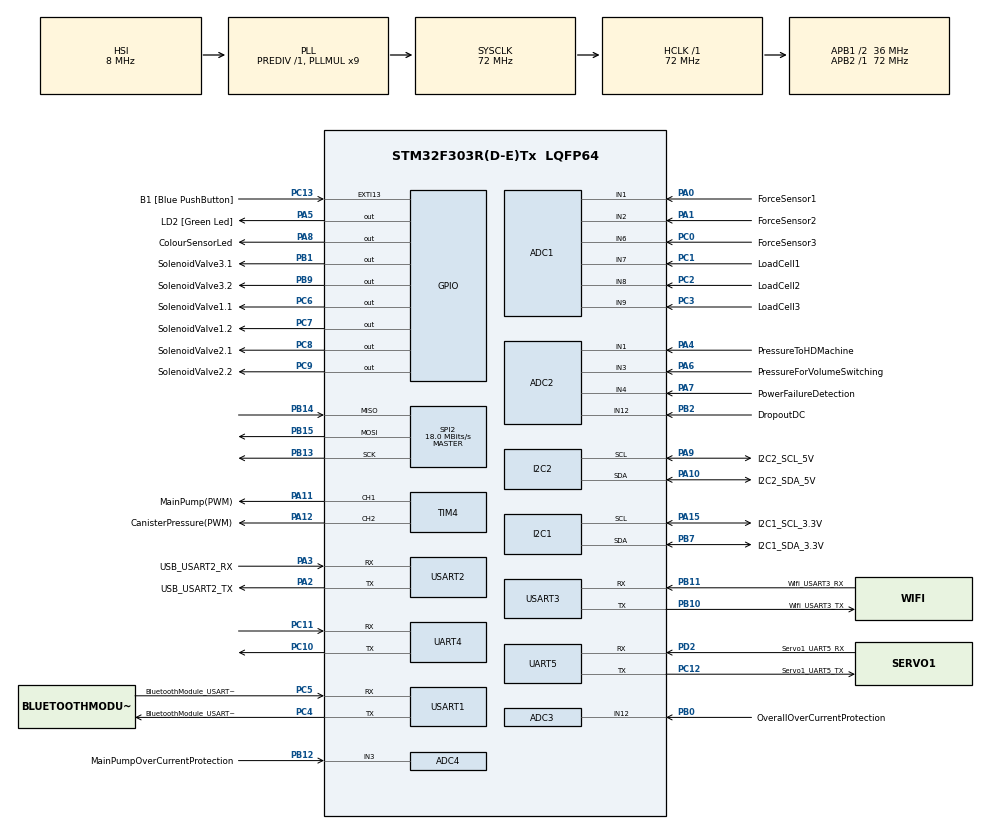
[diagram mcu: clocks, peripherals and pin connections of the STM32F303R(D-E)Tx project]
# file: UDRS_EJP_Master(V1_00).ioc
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ADC1.Channel-0\#ChannelRegularConversion=ADC_CHANNEL_1
ADC1.NbrOfConversionFlag=1
ADC1.Offset-0\#ChannelRegularConversion=0
ADC1.OffsetNumber-0\#ChannelRegularConversion=ADC_OFFSET_NONE
ADC1.Rank-0\#ChannelRegularConversion=1
ADC1.SamplingTime-0\#ChannelRegularConversion=ADC_SAMPLETIME_1CYCLE_5
ADC1.master=1
ADC2.Channel-0\#ChannelRegularConversion=ADC_CHANNEL_1
ADC2.NbrOfConversionFlag=1
ADC2.Offset-0\#ChannelRegularConversion=0
ADC2.OffsetNumber-0\#ChannelRegularConversion=ADC_OFFSET_NONE
ADC2.Rank-0\#ChannelRegularConversion=1
ADC2.SamplingTime-0\#ChannelRegularConversion=ADC_SAMPLETIME_1CYCLE_5
ADC3.Channel-0\#ChannelRegularConversion=ADC_CHANNEL_12
ADC3.NbrOfConversionFlag=1
ADC3.Offset-0\#ChannelRegularConversion=0
ADC3.OffsetNumber-0\#ChannelRegularConversion=ADC_OFFSET_NONE
ADC3.Rank-0\#ChannelRegularConversion=1
ADC3.SamplingTime-0\#ChannelRegularConversion=ADC_SAMPLETIME_1CYCLE_5
ADC3.master=1
ADC4.Channel-0\#ChannelRegularConversion=ADC_CHANNEL_3
ADC4.NbrOfConversionFlag=1
ADC4.Offset-0\#ChannelRegularConversion=0
ADC4.OffsetNumber-0\#ChannelRegularConversion=ADC_OFFSET_NONE
ADC4.Rank-0\#ChannelRegularConversion=1
ADC4.SamplingTime-0\#ChannelRegularConversion=ADC_SAMPLETIME_1CYCLE_5
Mcu.Family=STM32F3
Mcu.Name=STM32F303R(D-E)Tx
Mcu.Package=LQFP64
NVIC.PriorityGroup=NVIC_PRIORITYGROUP_0
PA0.GPIO_Label=ForceSensor1
PA0.Mode=IN1-Single-Ended
PA0.Signal=ADC1_IN1
PA1.GPIO_Label=ForceSensor2
PA1.Mode=IN2-Single-Ended
PA1.Signal=ADC1_IN2
PA10.GPIO_Label=I2C2_SDA_5V
PA10.Mode=I2C
PA10.Signal=I2C2_SDA
PA11.GPIO_Label=MainPump(PWM)
PA11.Signal=S_TIM4_CH1
PA12.GPIO_Label=CanisterPressure(PWM)
PA12.Signal=S_TIM4_CH2
PA13.GPIO_Label=TMS
PA13.Mode=Serial_Wire
PA13.Signal=SYS_JTMS-SWDIO
PA14.GPIO_Label=TCK
PA14.Mode=Serial_Wire
PA14.Signal=SYS_JTCK-SWCLK
PA15.GPIO_Label=I2C1_SCL_3.3V
PA15.Mode=I2C
PA15.Signal=I2C1_SCL
PA2.GPIO_Label=USB_USART2_TX
PA2.GPIO_Mode=GPIO_MODE_AF_PP
PA2.GPIO_PuPd=GPIO_NOPULL
PA2.GPIO_Speed=GPIO_SPEED_FREQ_LOW
PA2.Mode=Asynchronous
PA2.Signal=USART2_TX
PA3.GPIO_Label=USB_USART2_RX
PA3.GPIO_Mode=GPIO_MODE_AF_PP
PA3.GPIO_PuPd=GPIO_NOPULL
PA3.GPIO_Speed=GPIO_SPEED_FREQ_LOW
PA3.Mode=Asynchronous
PA3.Signal=USART2_RX
PA4.GPIO_Label=PressureToHDMachine
PA4.Mode=IN1-Single-Ended
PA4.Signal=ADC2_IN1
PA5.GPIO_Label=LD2 [Green Led]
PA5.GPIO_Mode=GPIO_MODE_OUTPUT_PP
PA5.GPIO_PuPd=GPIO_NOPULL
PA5.GPIO_Speed=GPIO_SPEED_FREQ_LOW
PA5.Signal=GPIO_Output
PA6.GPIO_Label=PressureForVolumeSwitching
PA6.Mode=IN3-Single-Ended
PA6.Signal=ADC2_IN3
PA7.GPIO_Label=PowerFailureDetection
PA7.Mode=IN4-Single-Ended
PA7.Signal=ADC2_IN4
PA8.GPIO_Label=ColourSensorLed
PA8.Signal=GPIO_Output
PA9.GPIO_Label=I2C2_SCL_5V
PA9.Mode=I2C
PA9.Signal=I2C2_SCL
PB0.GPIO_Label=OverallOverCurrentProtection
PB0.Mode=IN12-Single-Ended
PB0.Signal=ADC3_IN12
PB1.GPIO_Label=SolenoidValve3.1
PB1.Signal=GPIO_Output
PB10.GPIO_Label=Wifi_USART3_TX
PB10.Mode=Asynchronous
PB10.Signal=USART3_TX
PB11.GPIO_Label=Wifi_USART3_RX
PB11.Mode=Asynchronous
PB11.Signal=USART3_RX
PB12.GPIO_Label=MainPumpOverCurrentProtection
PB12.Mode=IN3-Single-Ended
PB12.Signal=ADC4_IN3
PB13.Mode=Full_Duplex_Master
PB13.Signal=SPI2_SCK
PB14.Mode=Full_Duplex_Master
PB14.Signal=SPI2_MISO
PB15.Mode=Full_Duplex_Master
PB15.Signal=SPI2_MOSI
PB2.GPIO_Label=DropoutDC
PB2.Mode=IN12-Single-Ended
PB2.Signal=ADC2_IN12
PB3.GPIO_Label=SWO
PB3.Signal=SYS_JTDO-TRACESWO
PB7.GPIO_Label=I2C1_SDA_3.3V
PB7.Mode=I2C
PB7.Signal=I2C1_SDA
PB9.GPIO_Label=SolenoidValve3.2
PB9.Signal=GPIO_Output
PC0.GPIO_Label=ForceSensor3
PC0.Signal=ADCx_IN6
PC1.GPIO_Label=LoadCell1
PC1.Signal=ADCx_IN7
PC10.Mode=Asynchronous
PC10.Signal=UART4_TX
PC11.Mode=Asynchronous
PC11.Signal=UART4_RX
PC12.GPIO_Label=Servo1_UART5_TX
PC12.Mode=Asynchronous
PC12.Signal=UART5_TX
PC13.GPIO_Label=B1 [Blue PushButton]
PC13.GPIO_ModeDefaultEXTI=GPIO_MODE_IT_FALLING
PC13.Signal=GPXTI13
PC14-OSC32_IN.Mode=LSE-External-Oscillator
PC14-OSC32_IN.Signal=RCC_OSC32_IN
PC15-OSC32_OUT.Mode=LSE-External-Oscillator
PC15-OSC32_OUT.Signal=RCC_OSC32_OUT
PC2.GPIO_Label=LoadCell2
PC2.Signal=ADCx_IN8
PC3.GPIO_Label=LoadCell3
PC3.Signal=ADCx_IN9
PC4.GPIO_Label=BluetoothModule_USART1_TX
PC4.Mode=Asynchronous
PC4.Signal=USART1_TX
PC5.GPIO_Label=BluetoothModule_USART1_RX
PC5.Mode=Asynchronous
PC5.Signal=USART1_RX
PC6.GPIO_Label=SolenoidValve1.1
PC6.Signal=GPIO_Output
PC7.GPIO_Label=SolenoidValve1.2
PC7.Signal=GPIO_Output
PC8.GPIO_Label=SolenoidValve2.1
PC8.Signal=GPIO_Output
PC9.GPIO_Label=SolenoidValve2.2
PC9.Signal=GPIO_Output
PD2.GPIO_Label=Servo1_UART5_RX
PD2.Mode=Asynchronous
PD2.Signal=UART5_RX
PF0-OSC_IN.Mode=HSE-External-Clock-Source
PF0-OSC_IN.Signal=RCC_OSC_IN
PF1-OSC_OUT.Signal=RCC_OSC_OUT
ProjectManager.HeapSize=0x200
ProjectManager.StackSize=0x400
ProjectManager.TargetToolchain=MDK-ARM V5
RCC.AHBFreq_Value=72000000
RCC.APB1CLKDivider=RCC_HCLK_DIV2
RCC.APB1Freq_Value=36000000
RCC.APB1TimFreq_Value=72000000
RCC.APB2Freq_Value=72000000
RCC.APB2TimFreq_Value=72000000
RCC.CortexFreq_Value=72000000
RCC.HCLKFreq_Value=72000000
RCC.HSE_VALUE=8000000
RCC.HSI_VALUE=8000000
RCC.PLLM=8
RCC.PLLMUL=RCC_PLL_MUL9
RCC.PLLN=336
RCC.PLLP=RCC_PLLP_DIV4
RCC.PLLQ=7
RCC.RCC_PLLsource_Clock_Source_FROM_HSE=RCC_HSE_PREDIV_DIV2
RCC.RTCClockSelection=RCC_RTCCLKSOURCE_LSE
RCC.SYSCLKFreq_VALUE=72000000
RCC.SYSCLKSourceVirtual=RCC_SYSCLKSOURCE_PLLCLK
RCC.USBFreq_Value=72000000
RTC.Hours=12
RTC.Year=18
SH.ADCx_IN6.0=ADC1_IN6,IN6-Single-Ended
SH.ADCx_IN7.0=ADC1_IN7,IN7-Single-Ended
SH.ADCx_IN8.0=ADC1_IN8,IN8-Single-Ended
SH.ADCx_IN9.0=ADC1_IN9,IN9-Single-Ended
SH.S_TIM4_CH1.0=TIM4_CH1,PWM Generation1 CH1
SH.S_TIM4_CH2.0=TIM4_CH2,PWM Generation2 CH2
SPI2.CalculateBaudRate=18.0 MBits/s
SPI2.Direction=SPI_DIRECTION_2LINES
SPI2.Mode=SPI_MODE_MASTER
SPI2.VirtualType=VM_MASTER
TIM4.Channel-PWM\ Generation1\ CH1=TIM_CHANNEL_1
TIM4.Channel-PWM\ Generation2\ CH2=TIM_CHANNEL_2
USART1.VirtualMode-Asynchronous=VM_ASYNC
USART2.VirtualMode-Asynchronous=VM_ASYNC
USART3.VirtualMode-Asynchronous=VM_ASYNC
VP_RTC_VS_RTC_Activate.Mode=RTC_Enabled
VP_RTC_VS_RTC_Calendar.Mode=RTC_Calendar
board=NUCLEO-F303RE

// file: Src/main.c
/**
  ******************************************************************************
  * @file           : main.c
  * @brief          : Main program body of UDRS-EJP-Software
	*									: Control the laboratory testing and design exploration
	*									: Suppport prototyping and testing codes before merging into
	*									  the central repository of the main Universal Dialysate
	*									  Regeneration System software.
	* @generated with	: STM32CubeMX for Nucleo-64(F303RE)
	* @date created		: 7 Jan 2019
	* @modified by		: Er Jui Pin
	* @last update		: Git
  ******************************************************************************
  ** This notice applies to any and all portions of this file
  * that are not between comment pairs USER CODE BEGIN and
  * USER CODE END. Other portions of this file, whether
  * inserted by the user or by software development tools
  * are owned by their respective copyright owners.
  *
  * COPYRIGHT(c) 2018 STMicroelectronics
  *
  * Redistribution and use in source and binary forms, with or without modification,
  * are permitted provided that the following conditions are met:
  *   1. Redistributions of source code must retain the above copyright notice,
  *      this list of conditions and the following disclaimer.
  *   2. Redistributions in binary form must reproduce the above copyright notice,
  *      this list of conditions and the following disclaimer in the documentation
  *      and/or other materials provided with the distribution.
  *   3. Neither the name of STMicroelectronics nor the names of its contributors
  *      may be used to endorse or promote products derived from this software
  *      without specific prior written permission.
  *
  * THIS SOFTWARE IS PROVIDED BY THE COPYRIGHT HOLDERS AND CONTRIBUTORS "AS IS"
  * AND ANY EXPRESS OR IMPLIED WARRANTIES, INCLUDING, BUT NOT LIMITED TO, THE
  * IMPLIED WARRANTIES OF MERCHANTABILITY AND FITNESS FOR A PARTICULAR PURPOSE ARE
  * DISCLAIMED. IN NO EVENT SHALL THE COPYRIGHT HOLDER OR CONTRIBUTORS BE LIABLE
  * FOR ANY DIRECT, INDIRECT, INCIDENTAL, SPECIAL, EXEMPLARY, OR CONSEQUENTIAL
  * DAMAGES (INCLUDING, BUT NOT LIMITED TO, PROCUREMENT OF SUBSTITUTE GOODS OR
  * SERVICES; LOSS OF USE, DATA, OR PROFITS; OR BUSINESS INTERRUPTION) HOWEVER
  * CAUSED AND ON ANY THEORY OF LIABILITY, WHETHER IN CONTRACT, STRICT LIABILITY,
  * OR TORT (INCLUDING NEGLIGENCE OR OTHERWISE) ARISING IN ANY WAY OUT OF THE USE
  * OF THIS SOFTWARE, EVEN IF ADVISED OF THE POSSIBILITY OF SUCH DAMAGE.
  *
  ******************************************************************************
  */

#include "main.h"
#include "stm32f3xx_hal.h"

ADC_HandleTypeDef hadc1;
ADC_HandleTypeDef hadc2;
ADC_HandleTypeDef hadc3;
ADC_HandleTypeDef hadc4;

I2C_HandleTypeDef hi2c1;
I2C_HandleTypeDef hi2c2;

RTC_HandleTypeDef hrtc;

SPI_HandleTypeDef hspi2;

TIM_HandleTypeDef htim4;

UART_HandleTypeDef huart4;
UART_HandleTypeDef huart5;
UART_HandleTypeDef huart1;
UART_HandleTypeDef huart2;
UART_HandleTypeDef huart3;

/* USER CODE BEGIN PV */
/* Private variables ---------------------------------------------------------*/

/* Struct for f/w design and as template to other applications */
UDRS_ProgrammerTypedef	FWD1, TEMPLATE;							// timing flags
char bufferTX[SIZE_BUFFER_TXRX];										// TX buffer for display

/* Struct to support other applications */
UDRS_ProgrammerTypedef	JP, KH, ES;									// timing flags

uint8_t		g_MenuIndex;
uint32_t	uwTick_current, uwTick_previous500mS, uwTick_previous1S;

/* Exported variables (extern) */
uint8_t	g_UDRS_timeout1S, g_UDRS_timeout500mS;
uint8_t	g_JP_timeout1S, 	g_JP_timeout500mS;
uint8_t	g_KH_timeout1S, 	g_KH_timeout500mS;
uint8_t	g_ES_timeout1S, 	g_ES_timeout500mS;
//////extern uint16_t adcValueCenter, adcValueSameAxis, adcValue45degree;
//////extern uint16_t adcValueCenterArray[NUM_OF_ARRAY], adcValueSameAxisArray[NUM_OF_ARRAY], adcValue45degreeArray[NUM_OF_ARRAY];
//////extern uint16_t adcValueCenterMedian, adcValueSameAxisMedian, adcValue45degreeMedian;
//////extern uint16_t adcValueCenterMean, adcValueSameAxisMean, adcValue45degreeMean;

//////extern uint16_t loadCellOne, loadCellTwo, loadCellThree;
//////extern uint16_t loadCellOneArray[NUM_OF_ARRAY], loadCellTwoArray[NUM_OF_ARRAY], loadCellThreeArray[NUM_OF_ARRAY];
//////extern uint16_t loadCellOneMedian, loadCellTwoMedian, loadCellThreeMedian;
//////extern uint16_t loadCellOneMean, loadCellTwoMean, loadCellThreeMean;

uint16_t mSecondCount=0, secondCount=0, fiveSecondCount=0;

uint8_t halfSecondFlag, secondFlag, fiveSecondFlag, errorFlag, enterFlag,exitFlag, i, j, counter, autoLogin=0;
uint8_t menuSelection, receiveOneInput, receiveTwoInputsFirst,receiveTwoInputsSecond, receiveInputArray[NUM_OF_UART_RECEIVED+1], enterPlacement;
uint8_t buffer[100], receiveArray[NUM_OF_UART_RECEIVED+1];

uint8_t month, date, hour, min;

uint16_t secondCount;
RTC_TimeTypeDef sTime;
RTC_DateTypeDef sDate;

/* USER CODE END PV */

void SystemClock_Config(void);
static void MX_GPIO_Init(void);
static void MX_USART2_UART_Init(void);
static void MX_RTC_Init(void);
static void MX_ADC1_Init(void);
static void MX_ADC2_Init(void);
static void MX_ADC3_Init(void);
static void MX_ADC4_Init(void);
static void MX_I2C1_Init(void);
static void MX_I2C2_Init(void);
static void MX_SPI2_Init(void);
static void MX_TIM4_Init(void);
static void MX_UART4_Init(void);
static void MX_UART5_Init(void);
static void MX_USART1_UART_Init(void);
static void MX_USART3_UART_Init(void);

void HAL_TIM_MspPostInit(TIM_HandleTypeDef *htim);

/* USER CODE BEGIN PFP */
/* Private function prototypes -----------------------------------------------*/
//////extern void AdcData(void);
//////extern void ArrangeArrayValue(void);
//////extern void GetMedianValue(void);
//////extern void GetMeanValue(void);
//////extern void ResetBuffer(void);
extern void API_USR_TransmitMessage(char *message);
//////extern void ReceiveUart(uint8_t x);
//////extern void MainMenu(void);
//////extern void SetTime(void);
//////extern void SetDate(void);
//////extern void SetPSI(void);
//////extern void SetExit(void);
extern void SelectTopMenuOnUart(void);
void APP_ColourDetect(void);

extern void MX_I2C1_Init(void);

//uint8_t BSP_PB_GetState(void);
/* USER CODE END PFP */

/* USER CODE BEGIN 0 */
void HAL_SYSTICK_Callback(void)
{
	mSecondCount++;

		if(mSecondCount == 500)
		{
			HAL_GPIO_TogglePin(LD2_GPIO_Port, LD2_Pin);
			halfSecondFlag=1;
		}

		if(mSecondCount == 1000)
		{
			secondCount++;
			secondFlag=1;									// second flag = 1;
			mSecondCount=0;
		}

		if(secondCount == 60)
		{
				sTime.Minutes++;
				secondCount = 0;
				if(sTime.Minutes == 60)
				{
					sTime.Hours++;
					sTime.Minutes = 0;
					if(sTime.Hours == 24)
					{
						sDate.Date++;
						sTime.Hours = 0;
						if(sDate.Date == 31)
						{
							sDate.Month++;
							// to continue from here...
						}
					}
				}
		}

//		if(secondCount == 1)
//		{
//			fiveSecondCount++;
//			secondFlag=1;
//			secondCount=0;
//		}

//		if(fiveSecondCount == 5)
//		{
//			fiveSecondFlag=1;
//			fiveSecondCount=0;
//		}
}

uint8_t BlueButtonDetected(uint8_t x)
{
	j=0;

	for(i=0; i<x; i++)
	{
		HAL_Delay(500);
		if(HAL_GPIO_ReadPin(B1_GPIO_Port,B1_Pin) == GPIO_PIN_SET)
		{
			while (HAL_GPIO_ReadPin(B1_GPIO_Port,B1_Pin) == GPIO_PIN_SET);

			j++;
		}
	}

	if(x == j)
		return 1;
	else
		return 0;

}

void APP_ColourDetect(void)
{
	SelectTopMenuOnUart();
  API_USR_TransmitMessage("\r\n\nTo start, Please press & hold for 3 seconds to start\r\n\n");
  HAL_Delay(500);
}

/*
uint8_t BSP_PB_GetState(void)
{
	if(HAL_GPIO_ReadPin(B1_GPIO_Port,B1_Pin) == GPIO_PIN_SET)
		return 1;
	else
		return 0;
}
*/

/* USER CODE END 0 */

int main(void)
{
  /* USER CODE BEGIN 1 */
	/* Struct containing all applications */
UDRS_OperationTypedef	UDRS_operation[] =
{
	#if defined __UDRS_APP_INFUSATE_LT_
	{APP_UDRSinfusateLT, "0: UDRS(INFUSATE/LT)", 0},
	#endif
	#if defined __UDRS_APP_INFUSATE_TANG_
	{APP_UDRSinfusatePM, "1: UDRS(INFUSATE/PM)", 0},
	#endif
	#if defined __UDRS_APP_ERS_LT_
	{APP_UDRSersLT, "2: UDRS(ERS/LT)", 0},
	#endif
	#if defined __UDRS_APP_ERS_TANG_
	{APP_UDRSersPM, "3: UDRS(ERS/PM)", 0},
	#endif
	{APP_ColourDetect, "5; COLOUR SENSOR", 0},

};

	g_MenuIndex = 0;

  /* USER CODE END 1 */

  /* MCU Configuration----------------------------------------------------------*/

  /* Reset of all peripherals, Initializes the Flash interface and the Systick. */
  HAL_Init();

  /* USER CODE BEGIN Init */
	FWD1.previousTick_1S = HAL_GetTick();

  /* USER CODE END Init */

  /* Configure the system clock */
  SystemClock_Config();

  /* Initialize all configured peripherals */
  MX_GPIO_Init();
  MX_USART2_UART_Init();
  MX_RTC_Init();
  MX_ADC1_Init();
  MX_ADC2_Init();
  MX_ADC3_Init();
  MX_ADC4_Init();
  MX_I2C1_Init();
  MX_I2C2_Init();
  MX_SPI2_Init();
  MX_TIM4_Init();
  MX_UART4_Init();
  MX_UART5_Init();
  MX_USART1_UART_Init();
  MX_USART3_UART_Init();
  /* USER CODE BEGIN 2 */

	/* Main Menu */
	BSP_LED_Init(LED_GREEN);
	SelectTopMenuOnUart();
  API_USR_TransmitMessage("\r\n\nTo start, Please press & hold for 3 seconds to start\r\n\n");
  HAL_Delay(500);

  /* USER CODE END 2 */

  /* Infinite loop */
  while (1)
  {

  /* USER CODE BEGIN 3 */
		// to include display on the particular menu

		// Main program menu
		if(BSP_PB_GetState(BUTTON_USER) == GPIO_PIN_SET)
		{
			while(BSP_PB_GetState(BUTTON_USER) == GPIO_PIN_SET);
			UDRS_operation[g_MenuIndex].OpFunc();
			g_MenuIndex++;
			if(g_MenuIndex >= COUNT_OF_OPERATION(UDRS_operation))
			{
				g_MenuIndex = 0;
			}
		}

		/*----------------------------------------------------------------------*/

  }
  /* USER CODE END 3 */

}

void SystemClock_Config(void)
{

  RCC_OscInitTypeDef RCC_OscInitStruct;
  RCC_ClkInitTypeDef RCC_ClkInitStruct;
  RCC_PeriphCLKInitTypeDef PeriphClkInit;

    /**Configure LSE Drive Capability
    */
  HAL_PWR_EnableBkUpAccess();

  __HAL_RCC_LSEDRIVE_CONFIG(RCC_LSEDRIVE_LOW);

    /**Initializes the CPU, AHB and APB busses clocks
    */
  RCC_OscInitStruct.OscillatorType = RCC_OSCILLATORTYPE_HSI|RCC_OSCILLATORTYPE_LSE;
  RCC_OscInitStruct.LSEState = RCC_LSE_ON;
  RCC_OscInitStruct.HSIState = RCC_HSI_ON;
  RCC_OscInitStruct.HSICalibrationValue = 16;
  RCC_OscInitStruct.PLL.PLLState = RCC_PLL_ON;
  RCC_OscInitStruct.PLL.PLLSource = RCC_PLLSOURCE_HSI;
  RCC_OscInitStruct.PLL.PLLMUL = RCC_PLL_MUL9;
  RCC_OscInitStruct.PLL.PREDIV = RCC_PREDIV_DIV1;
  if (HAL_RCC_OscConfig(&RCC_OscInitStruct) != HAL_OK)
  {
    _Error_Handler(__FILE__, __LINE__);
  }

    /**Initializes the CPU, AHB and APB busses clocks
    */
  RCC_ClkInitStruct.ClockType = RCC_CLOCKTYPE_HCLK|RCC_CLOCKTYPE_SYSCLK
                              |RCC_CLOCKTYPE_PCLK1|RCC_CLOCKTYPE_PCLK2;
  RCC_ClkInitStruct.SYSCLKSource = RCC_SYSCLKSOURCE_PLLCLK;
  RCC_ClkInitStruct.AHBCLKDivider = RCC_SYSCLK_DIV1;
  RCC_ClkInitStruct.APB1CLKDivider = RCC_HCLK_DIV2;
  RCC_ClkInitStruct.APB2CLKDivider = RCC_HCLK_DIV1;

  if (HAL_RCC_ClockConfig(&RCC_ClkInitStruct, FLASH_LATENCY_2) != HAL_OK)
  {
    _Error_Handler(__FILE__, __LINE__);
  }

  PeriphClkInit.PeriphClockSelection = RCC_PERIPHCLK_USART1|RCC_PERIPHCLK_USART2
                              |RCC_PERIPHCLK_USART3|RCC_PERIPHCLK_UART4
                              |RCC_PERIPHCLK_UART5|RCC_PERIPHCLK_I2C1
                              |RCC_PERIPHCLK_I2C2|RCC_PERIPHCLK_RTC
                              |RCC_PERIPHCLK_ADC12|RCC_PERIPHCLK_ADC34
                              |RCC_PERIPHCLK_TIM34;
  PeriphClkInit.Usart1ClockSelection = RCC_USART1CLKSOURCE_PCLK2;
  PeriphClkInit.Usart2ClockSelection = RCC_USART2CLKSOURCE_PCLK1;
  PeriphClkInit.Usart3ClockSelection = RCC_USART3CLKSOURCE_PCLK1;
  PeriphClkInit.Uart4ClockSelection = RCC_UART4CLKSOURCE_PCLK1;
  PeriphClkInit.Uart5ClockSelection = RCC_UART5CLKSOURCE_PCLK1;
  PeriphClkInit.Adc12ClockSelection = RCC_ADC12PLLCLK_DIV1;
  PeriphClkInit.Adc34ClockSelection = RCC_ADC34PLLCLK_DIV1;
  PeriphClkInit.I2c1ClockSelection = RCC_I2C1CLKSOURCE_HSI;
  PeriphClkInit.I2c2ClockSelection = RCC_I2C2CLKSOURCE_HSI;
  PeriphClkInit.RTCClockSelection = RCC_RTCCLKSOURCE_LSE;
  PeriphClkInit.Tim34ClockSelection = RCC_TIM34CLK_HCLK;
  if (HAL_RCCEx_PeriphCLKConfig(&PeriphClkInit) != HAL_OK)
  {
    _Error_Handler(__FILE__, __LINE__);
  }

    /**Configure the Systick interrupt time
    */
  HAL_SYSTICK_Config(HAL_RCC_GetHCLKFreq()/1000);

    /**Configure the Systick
    */
  HAL_SYSTICK_CLKSourceConfig(SYSTICK_CLKSOURCE_HCLK);

  /* SysTick_IRQn interrupt configuration */
  HAL_NVIC_SetPriority(SysTick_IRQn, 0, 0);
}

/* ADC1 init function */
static void MX_ADC1_Init(void)
{

  ADC_MultiModeTypeDef multimode;
  ADC_ChannelConfTypeDef sConfig;

    /**Common config
    */
  hadc1.Instance = ADC1;
  hadc1.Init.ClockPrescaler = ADC_CLOCK_ASYNC_DIV1;
  hadc1.Init.Resolution = ADC_RESOLUTION_12B;
  hadc1.Init.ScanConvMode = ADC_SCAN_DISABLE;
  hadc1.Init.ContinuousConvMode = DISABLE;
  hadc1.Init.DiscontinuousConvMode = DISABLE;
  hadc1.Init.ExternalTrigConvEdge = ADC_EXTERNALTRIGCONVEDGE_NONE;
  hadc1.Init.ExternalTrigConv = ADC_SOFTWARE_START;
  hadc1.Init.DataAlign = ADC_DATAALIGN_RIGHT;
  hadc1.Init.NbrOfConversion = 1;
  hadc1.Init.DMAContinuousRequests = DISABLE;
  hadc1.Init.EOCSelection = ADC_EOC_SINGLE_CONV;
  hadc1.Init.LowPowerAutoWait = DISABLE;
  hadc1.Init.Overrun = ADC_OVR_DATA_OVERWRITTEN;
  if (HAL_ADC_Init(&hadc1) != HAL_OK)
  {
    _Error_Handler(__FILE__, __LINE__);
  }

    /**Configure the ADC multi-mode
    */
  multimode.Mode = ADC_MODE_INDEPENDENT;
  if (HAL_ADCEx_MultiModeConfigChannel(&hadc1, &multimode) != HAL_OK)
  {
    _Error_Handler(__FILE__, __LINE__);
  }

    /**Configure Regular Channel
    */
  sConfig.Channel = ADC_CHANNEL_1;
  sConfig.Rank = ADC_REGULAR_RANK_1;
  sConfig.SingleDiff = ADC_SINGLE_ENDED;
  sConfig.SamplingTime = ADC_SAMPLETIME_1CYCLE_5;
  sConfig.OffsetNumber = ADC_OFFSET_NONE;
  sConfig.Offset = 0;
  if (HAL_ADC_ConfigChannel(&hadc1, &sConfig) != HAL_OK)
  {
    _Error_Handler(__FILE__, __LINE__);
  }

}

/* ADC2 init function */
static void MX_ADC2_Init(void)
{

  ADC_ChannelConfTypeDef sConfig;

    /**Common config
    */
  hadc2.Instance = ADC2;
  hadc2.Init.ClockPrescaler = ADC_CLOCK_ASYNC_DIV1;
  hadc2.Init.Resolution = ADC_RESOLUTION_12B;
  hadc2.Init.ScanConvMode = ADC_SCAN_DISABLE;
  hadc2.Init.ContinuousConvMode = DISABLE;
  hadc2.Init.DiscontinuousConvMode = DISABLE;
  hadc2.Init.ExternalTrigConvEdge = ADC_EXTERNALTRIGCONVEDGE_NONE;
  hadc2.Init.ExternalTrigConv = ADC_SOFTWARE_START;
  hadc2.Init.DataAlign = ADC_DATAALIGN_RIGHT;
  hadc2.Init.NbrOfConversion = 1;
  hadc2.Init.DMAContinuousRequests = DISABLE;
  hadc2.Init.EOCSelection = ADC_EOC_SINGLE_CONV;
  hadc2.Init.LowPowerAutoWait = DISABLE;
  hadc2.Init.Overrun = ADC_OVR_DATA_OVERWRITTEN;
  if (HAL_ADC_Init(&hadc2) != HAL_OK)
  {
    _Error_Handler(__FILE__, __LINE__);
  }

    /**Configure Regular Channel
    */
  sConfig.Channel = ADC_CHANNEL_1;
  sConfig.Rank = ADC_REGULAR_RANK_1;
  sConfig.SingleDiff = ADC_SINGLE_ENDED;
  sConfig.SamplingTime = ADC_SAMPLETIME_1CYCLE_5;
  sConfig.OffsetNumber = ADC_OFFSET_NONE;
  sConfig.Offset = 0;
  if (HAL_ADC_ConfigChannel(&hadc2, &sConfig) != HAL_OK)
  {
    _Error_Handler(__FILE__, __LINE__);
  }

}

/* ADC3 init function */
static void MX_ADC3_Init(void)
{

  ADC_MultiModeTypeDef multimode;
  ADC_ChannelConfTypeDef sConfig;

    /**Common config
    */
  hadc3.Instance = ADC3;
  hadc3.Init.ClockPrescaler = ADC_CLOCK_ASYNC_DIV1;
  hadc3.Init.Resolution = ADC_RESOLUTION_12B;
  hadc3.Init.ScanConvMode = ADC_SCAN_DISABLE;
  hadc3.Init.ContinuousConvMode = DISABLE;
  hadc3.Init.DiscontinuousConvMode = DISABLE;
  hadc3.Init.ExternalTrigConvEdge = ADC_EXTERNALTRIGCONVEDGE_NONE;
  hadc3.Init.ExternalTrigConv = ADC_SOFTWARE_START;
  hadc3.Init.DataAlign = ADC_DATAALIGN_RIGHT;
  hadc3.Init.NbrOfConversion = 1;
  hadc3.Init.DMAContinuousRequests = DISABLE;
  hadc3.Init.EOCSelection = ADC_EOC_SINGLE_CONV;
  hadc3.Init.LowPowerAutoWait = DISABLE;
  hadc3.Init.Overrun = ADC_OVR_DATA_OVERWRITTEN;
  if (HAL_ADC_Init(&hadc3) != HAL_OK)
  {
    _Error_Handler(__FILE__, __LINE__);
  }

    /**Configure the ADC multi-mode
    */
  multimode.Mode = ADC_MODE_INDEPENDENT;
  if (HAL_ADCEx_MultiModeConfigChannel(&hadc3, &multimode) != HAL_OK)
  {
    _Error_Handler(__FILE__, __LINE__);
  }

    /**Configure Regular Channel
    */
  sConfig.Channel = ADC_CHANNEL_12;
  sConfig.Rank = ADC_REGULAR_RANK_1;
  sConfig.SingleDiff = ADC_SINGLE_ENDED;
  sConfig.SamplingTime = ADC_SAMPLETIME_1CYCLE_5;
  sConfig.OffsetNumber = ADC_OFFSET_NONE;
  sConfig.Offset = 0;
  if (HAL_ADC_ConfigChannel(&hadc3, &sConfig) != HAL_OK)
  {
    _Error_Handler(__FILE__, __LINE__);
  }

}

/* ADC4 init function */
static void MX_ADC4_Init(void)
{

  ADC_ChannelConfTypeDef sConfig;

    /**Common config
    */
  hadc4.Instance = ADC4;
  hadc4.Init.ClockPrescaler = ADC_CLOCK_ASYNC_DIV1;
  hadc4.Init.Resolution = ADC_RESOLUTION_12B;
  hadc4.Init.ScanConvMode = ADC_SCAN_DISABLE;
  hadc4.Init.ContinuousConvMode = DISABLE;
  hadc4.Init.DiscontinuousConvMode = DISABLE;
  hadc4.Init.ExternalTrigConvEdge = ADC_EXTERNALTRIGCONVEDGE_NONE;
  hadc4.Init.ExternalTrigConv = ADC_SOFTWARE_START;
  hadc4.Init.DataAlign = ADC_DATAALIGN_RIGHT;
  hadc4.Init.NbrOfConversion = 1;
  hadc4.Init.DMAContinuousRequests = DISABLE;
  hadc4.Init.EOCSelection = ADC_EOC_SINGLE_CONV;
  hadc4.Init.LowPowerAutoWait = DISABLE;
  hadc4.Init.Overrun = ADC_OVR_DATA_OVERWRITTEN;
  if (HAL_ADC_Init(&hadc4) != HAL_OK)
  {
    _Error_Handler(__FILE__, __LINE__);
  }

    /**Configure Regular Channel
    */
  sConfig.Channel = ADC_CHANNEL_3;
  sConfig.Rank = ADC_REGULAR_RANK_1;
  sConfig.SingleDiff = ADC_SINGLE_ENDED;
  sConfig.SamplingTime = ADC_SAMPLETIME_1CYCLE_5;
  sConfig.OffsetNumber = ADC_OFFSET_NONE;
  sConfig.Offset = 0;
  if (HAL_ADC_ConfigChannel(&hadc4, &sConfig) != HAL_OK)
  {
    _Error_Handler(__FILE__, __LINE__);
  }

}

/* I2C1 init function */
static void MX_I2C1_Init(void)
{

  hi2c1.Instance = I2C1;
  hi2c1.Init.Timing = 0x2000090E;
  hi2c1.Init.OwnAddress1 = 0;
  hi2c1.Init.AddressingMode = I2C_ADDRESSINGMODE_7BIT;
  hi2c1.Init.DualAddressMode = I2C_DUALADDRESS_DISABLE;
  hi2c1.Init.OwnAddress2 = 0;
  hi2c1.Init.OwnAddress2Masks = I2C_OA2_NOMASK;
  hi2c1.Init.GeneralCallMode = I2C_GENERALCALL_DISABLE;
  hi2c1.Init.NoStretchMode = I2C_NOSTRETCH_DISABLE;
  if (HAL_I2C_Init(&hi2c1) != HAL_OK)
  {
    _Error_Handler(__FILE__, __LINE__);
  }

    /**Configure Analogue filter
    */
  if (HAL_I2CEx_ConfigAnalogFilter(&hi2c1, I2C_ANALOGFILTER_ENABLE) != HAL_OK)
  {
    _Error_Handler(__FILE__, __LINE__);
  }

    /**Configure Digital filter
    */
  if (HAL_I2CEx_ConfigDigitalFilter(&hi2c1, 0) != HAL_OK)
  {
    _Error_Handler(__FILE__, __LINE__);
  }

}

/* I2C2 init function */
static void MX_I2C2_Init(void)
{

  hi2c2.Instance = I2C2;
  hi2c2.Init.Timing = 0x2000090E;
  hi2c2.Init.OwnAddress1 = 0;
  hi2c2.Init.AddressingMode = I2C_ADDRESSINGMODE_7BIT;
  hi2c2.Init.DualAddressMode = I2C_DUALADDRESS_DISABLE;
  hi2c2.Init.OwnAddress2 = 0;
  hi2c2.Init.OwnAddress2Masks = I2C_OA2_NOMASK;
  hi2c2.Init.GeneralCallMode = I2C_GENERALCALL_DISABLE;
  hi2c2.Init.NoStretchMode = I2C_NOSTRETCH_DISABLE;
  if (HAL_I2C_Init(&hi2c2) != HAL_OK)
  {
    _Error_Handler(__FILE__, __LINE__);
  }

    /**Configure Analogue filter
    */
  if (HAL_I2CEx_ConfigAnalogFilter(&hi2c2, I2C_ANALOGFILTER_ENABLE) != HAL_OK)
  {
    _Error_Handler(__FILE__, __LINE__);
  }

    /**Configure Digital filter
    */
  if (HAL_I2CEx_ConfigDigitalFilter(&hi2c2, 0) != HAL_OK)
  {
    _Error_Handler(__FILE__, __LINE__);
  }

}

/* RTC init function */
static void MX_RTC_Init(void)
{

  RTC_TimeTypeDef sTime;
  RTC_DateTypeDef sDate;

    /**Initialize RTC Only
    */
  hrtc.Instance = RTC;
  hrtc.Init.HourFormat = RTC_HOURFORMAT_24;
  hrtc.Init.AsynchPrediv = 127;
  hrtc.Init.SynchPrediv = 255;
  hrtc.Init.OutPut = RTC_OUTPUT_DISABLE;
  hrtc.Init.OutPutPolarity = RTC_OUTPUT_POLARITY_HIGH;
  hrtc.Init.OutPutType = RTC_OUTPUT_TYPE_OPENDRAIN;
  if (HAL_RTC_Init(&hrtc) != HAL_OK)
  {
    _Error_Handler(__FILE__, __LINE__);
  }

    /**Initialize RTC and set the Time and Date
    */
  sTime.Hours = 0x12;
  sTime.Minutes = 0x0;
  sTime.Seconds = 0x0;
  sTime.DayLightSaving = RTC_DAYLIGHTSAVING_NONE;
  sTime.StoreOperation = RTC_STOREOPERATION_RESET;
  if (HAL_RTC_SetTime(&hrtc, &sTime, RTC_FORMAT_BCD) != HAL_OK)
  {
    _Error_Handler(__FILE__, __LINE__);
  }

  sDate.WeekDay = RTC_WEEKDAY_MONDAY;
  sDate.Month = RTC_MONTH_JANUARY;
  sDate.Date = 0x1;
  sDate.Year = 0x18;

  if (HAL_RTC_SetDate(&hrtc, &sDate, RTC_FORMAT_BCD) != HAL_OK)
  {
    _Error_Handler(__FILE__, __LINE__);
  }

}

/* SPI2 init function */
static void MX_SPI2_Init(void)
{

  /* SPI2 parameter configuration*/
  hspi2.Instance = SPI2;
  hspi2.Init.Mode = SPI_MODE_MASTER;
  hspi2.Init.Direction = SPI_DIRECTION_2LINES;
  hspi2.Init.DataSize = SPI_DATASIZE_4BIT;
  hspi2.Init.CLKPolarity = SPI_POLARITY_LOW;
  hspi2.Init.CLKPhase = SPI_PHASE_1EDGE;
  hspi2.Init.NSS = SPI_NSS_SOFT;
  hspi2.Init.BaudRatePrescaler = SPI_BAUDRATEPRESCALER_2;
  hspi2.Init.FirstBit = SPI_FIRSTBIT_MSB;
  hspi2.Init.TIMode = SPI_TIMODE_DISABLE;
  hspi2.Init.CRCCalculation = SPI_CRCCALCULATION_DISABLE;
  hspi2.Init.CRCPolynomial = 7;
  hspi2.Init.CRCLength = SPI_CRC_LENGTH_DATASIZE;
  hspi2.Init.NSSPMode = SPI_NSS_PULSE_ENABLE;
  if (HAL_SPI_Init(&hspi2) != HAL_OK)
  {
    _Error_Handler(__FILE__, __LINE__);
  }

}

/* TIM4 init function */
static void MX_TIM4_Init(void)
{

  TIM_MasterConfigTypeDef sMasterConfig;
  TIM_OC_InitTypeDef sConfigOC;

  htim4.Instance = TIM4;
  htim4.Init.Prescaler = 0;
  htim4.Init.CounterMode = TIM_COUNTERMODE_UP;
  htim4.Init.Period = 0;
  htim4.Init.ClockDivision = TIM_CLOCKDIVISION_DIV1;
  htim4.Init.AutoReloadPreload = TIM_AUTORELOAD_PRELOAD_DISABLE;
  if (HAL_TIM_PWM_Init(&htim4) != HAL_OK)
  {
    _Error_Handler(__FILE__, __LINE__);
  }

  sMasterConfig.MasterOutputTrigger = TIM_TRGO_RESET;
  sMasterConfig.MasterSlaveMode = TIM_MASTERSLAVEMODE_DISABLE;
  if (HAL_TIMEx_MasterConfigSynchronization(&htim4, &sMasterConfig) != HAL_OK)
  {
    _Error_Handler(__FILE__, __LINE__);
  }

  sConfigOC.OCMode = TIM_OCMODE_PWM1;
  sConfigOC.Pulse = 0;
  sConfigOC.OCPolarity = TIM_OCPOLARITY_HIGH;
  sConfigOC.OCFastMode = TIM_OCFAST_DISABLE;
  if (HAL_TIM_PWM_ConfigChannel(&htim4, &sConfigOC, TIM_CHANNEL_1) != HAL_OK)
  {
    _Error_Handler(__FILE__, __LINE__);
  }

  if (HAL_TIM_PWM_ConfigChannel(&htim4, &sConfigOC, TIM_CHANNEL_2) != HAL_OK)
  {
    _Error_Handler(__FILE__, __LINE__);
  }

  HAL_TIM_MspPostInit(&htim4);

}

/* UART4 init function */
static void MX_UART4_Init(void)
{

  huart4.Instance = UART4;
  huart4.Init.BaudRate = 115200;
  huart4.Init.WordLength = UART_WORDLENGTH_8B;
  huart4.Init.StopBits = UART_STOPBITS_1;
  huart4.Init.Parity = UART_PARITY_NONE;
  huart4.Init.Mode = UART_MODE_TX_RX;
  huart4.Init.HwFlowCtl = UART_HWCONTROL_NONE;
  huart4.Init.OverSampling = UART_OVERSAMPLING_16;
  huart4.Init.OneBitSampling = UART_ONE_BIT_SAMPLE_DISABLE;
  huart4.AdvancedInit.AdvFeatureInit = UART_ADVFEATURE_NO_INIT;
  if (HAL_UART_Init(&huart4) != HAL_OK)
  {
    _Error_Handler(__FILE__, __LINE__);
  }

}

/* UART5 init function */
static void MX_UART5_Init(void)
{

  huart5.Instance = UART5;
  huart5.Init.BaudRate = 115200;
  huart5.Init.WordLength = UART_WORDLENGTH_8B;
  huart5.Init.StopBits = UART_STOPBITS_1;
  huart5.Init.Parity = UART_PARITY_NONE;
  huart5.Init.Mode = UART_MODE_TX_RX;
  huart5.Init.HwFlowCtl = UART_HWCONTROL_NONE;
  huart5.Init.OverSampling = UART_OVERSAMPLING_16;
  huart5.Init.OneBitSampling = UART_ONE_BIT_SAMPLE_DISABLE;
  huart5.AdvancedInit.AdvFeatureInit = UART_ADVFEATURE_NO_INIT;
  if (HAL_UART_Init(&huart5) != HAL_OK)
  {
    _Error_Handler(__FILE__, __LINE__);
  }

}

/* USART1 init function */
static void MX_USART1_UART_Init(void)
{

  huart1.Instance = USART1;
  huart1.Init.BaudRate = 38400;
  huart1.Init.WordLength = UART_WORDLENGTH_8B;
  huart1.Init.StopBits = UART_STOPBITS_1;
  huart1.Init.Parity = UART_PARITY_NONE;
  huart1.Init.Mode = UART_MODE_TX_RX;
  huart1.Init.HwFlowCtl = UART_HWCONTROL_NONE;
  huart1.Init.OverSampling = UART_OVERSAMPLING_16;
  huart1.Init.OneBitSampling = UART_ONE_BIT_SAMPLE_DISABLE;
  huart1.AdvancedInit.AdvFeatureInit = UART_ADVFEATURE_NO_INIT;
  if (HAL_UART_Init(&huart1) != HAL_OK)
  {
    _Error_Handler(__FILE__, __LINE__);
  }

}

/* USART2 init function */
static void MX_USART2_UART_Init(void)
{

  huart2.Instance = USART2;
  huart2.Init.BaudRate = 38400;
  huart2.Init.WordLength = UART_WORDLENGTH_8B;
  huart2.Init.StopBits = UART_STOPBITS_1;
  huart2.Init.Parity = UART_PARITY_NONE;
  huart2.Init.Mode = UART_MODE_TX_RX;
  huart2.Init.HwFlowCtl = UART_HWCONTROL_NONE;
  huart2.Init.OverSampling = UART_OVERSAMPLING_16;
  huart2.Init.OneBitSampling = UART_ONE_BIT_SAMPLE_DISABLE;
  huart2.AdvancedInit.AdvFeatureInit = UART_ADVFEATURE_NO_INIT;
  if (HAL_UART_Init(&huart2) != HAL_OK)
  {
    _Error_Handler(__FILE__, __LINE__);
  }

}

/* USART3 init function */
static void MX_USART3_UART_Init(void)
{

  huart3.Instance = USART3;
  huart3.Init.BaudRate = 38400;
  huart3.Init.WordLength = UART_WORDLENGTH_8B;
  huart3.Init.StopBits = UART_STOPBITS_1;
  huart3.Init.Parity = UART_PARITY_NONE;
  huart3.Init.Mode = UART_MODE_TX_RX;
  huart3.Init.HwFlowCtl = UART_HWCONTROL_NONE;
  huart3.Init.OverSampling = UART_OVERSAMPLING_16;
  huart3.Init.OneBitSampling = UART_ONE_BIT_SAMPLE_DISABLE;
  huart3.AdvancedInit.AdvFeatureInit = UART_ADVFEATURE_NO_INIT;
  if (HAL_UART_Init(&huart3) != HAL_OK)
  {
    _Error_Handler(__FILE__, __LINE__);
  }

}

/** Configure pins as
        * Analog
        * Input
        * Output
        * EVENT_OUT
        * EXTI
*/
static void MX_GPIO_Init(void)
{

  GPIO_InitTypeDef GPIO_InitStruct;

  /* GPIO Ports Clock Enable */
  __HAL_RCC_GPIOC_CLK_ENABLE();
  __HAL_RCC_GPIOF_CLK_ENABLE();
  __HAL_RCC_GPIOA_CLK_ENABLE();
  __HAL_RCC_GPIOB_CLK_ENABLE();
  __HAL_RCC_GPIOD_CLK_ENABLE();

  /*Configure GPIO pin Output Level */
  HAL_GPIO_WritePin(GPIOA, LD2_Pin|ColourSensorLed_Pin, GPIO_PIN_RESET);

  /*Configure GPIO pin Output Level */
  HAL_GPIO_WritePin(GPIOB, SolenoidValve3_1_Pin|SolenoidValve3_2_Pin, GPIO_PIN_RESET);

  /*Configure GPIO pin Output Level */
  HAL_GPIO_WritePin(GPIOC, SolenoidValve1_1_Pin|SolenoidValve1_2_Pin|SolenoidValve2_1_Pin, GPIO_PIN_RESET);

  /*Configure GPIO pin : B1_Pin */
  GPIO_InitStruct.Pin = B1_Pin;
  GPIO_InitStruct.Mode = GPIO_MODE_IT_FALLING;
  GPIO_InitStruct.Pull = GPIO_NOPULL;
  HAL_GPIO_Init(B1_GPIO_Port, &GPIO_InitStruct);

  /*Configure GPIO pins : LD2_Pin ColourSensorLed_Pin */
  GPIO_InitStruct.Pin = LD2_Pin|ColourSensorLed_Pin;
  GPIO_InitStruct.Mode = GPIO_MODE_OUTPUT_PP;
  GPIO_InitStruct.Pull = GPIO_NOPULL;
  GPIO_InitStruct.Speed = GPIO_SPEED_FREQ_LOW;
  HAL_GPIO_Init(GPIOA, &GPIO_InitStruct);

  /*Configure GPIO pins : SolenoidValve3_1_Pin SolenoidValve3_2_Pin */
  GPIO_InitStruct.Pin = SolenoidValve3_1_Pin|SolenoidValve3_2_Pin;
  GPIO_InitStruct.Mode = GPIO_MODE_OUTPUT_PP;
  GPIO_InitStruct.Pull = GPIO_NOPULL;
  GPIO_InitStruct.Speed = GPIO_SPEED_FREQ_LOW;
  HAL_GPIO_Init(GPIOB, &GPIO_InitStruct);

  /*Configure GPIO pins : SolenoidValve1_1_Pin SolenoidValve1_2_Pin SolenoidValve2_1_Pin SolenoidValve2_2_Pin */
  GPIO_InitStruct.Pin = SolenoidValve1_1_Pin|SolenoidValve1_2_Pin|SolenoidValve2_1_Pin|SolenoidValve2_2_Pin;
  GPIO_InitStruct.Mode = GPIO_MODE_OUTPUT_PP;
  GPIO_InitStruct.Pull = GPIO_NOPULL;
  GPIO_InitStruct.Speed = GPIO_SPEED_FREQ_LOW;
  HAL_GPIO_Init(GPIOC, &GPIO_InitStruct);

}

void _Error_Handler(char *file, int line)
{
  /* USER CODE BEGIN Error_Handler_Debug */
  /* User can add his own implementation to report the HAL error return state */
	// Skip for testing
  //while(1)
  {
		snprintf((char *)buffer,sizeof(buffer),"\r\nError in file: %s, line number: %5d\r\n",file, line);
		API_USR_TransmitMessage((char *)buffer);
  }
  /* USER CODE END Error_Handler_Debug */
}

/************************ (C) COPYRIGHT STMicroelectronics *****END OF FILE****/
